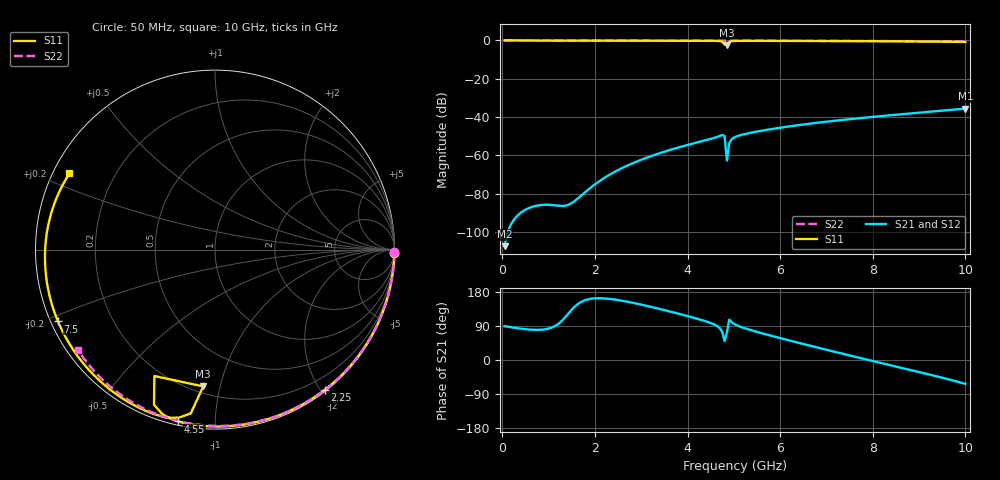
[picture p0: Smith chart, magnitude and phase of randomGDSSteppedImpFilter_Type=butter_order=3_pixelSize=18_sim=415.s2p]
! freq	dB(S11)	phase(S11)	dB(S12)	phase(S12)
!  dB(S21)	phase(S21)	dB(S22)	phase(S22)
!S-par simulation data
#  GHz  S  DB  R 50
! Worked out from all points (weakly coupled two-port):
!   200 points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, 50 MHz to 10 GHz, reference 50 ohm
!   highest |S21| = -35.58 dB at 10 GHz (marker M1); lowest = -107.4 dB at 50 MHz (marker M2)
!   lowest |S11| = -2.3 dB at 4.85 GHz (marker M3), VSWR 7.51, Z = 12.1 - j44.4 ohm
!   |S11| at or under -10 dB: nowhere
!   |S22| runs from -0.5 to 0.0 dB; largest |S21 - S12| = 0
!   S11 on the Smith chart (normalised r, x): 50 MHz: 0, -96; 2.25 GHz: 0.02, -2.05; 4.55 GHz: 0.02, -0.81; 7.5 GHz: 0.02, -0.22; 10 GHz: 0.05, +0.25
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0.05  -0.00 -1.2  -107.36 89.2  -107.36 89.2  -0.00 -0.8
0.85  -0.03 -20.0  -85.84 80.0  -85.84 80.0  -0.02 -14.1
1.75  -0.05 -40.8  -80.00 156.1  -80.00 156.1  -0.04 -28.8
2  -0.06 -46.4  -75.11 162.8  -75.11 162.8  -0.04 -32.8
2.25  -0.07 -52.0  -71.03 162.1  -71.03 162.1  -0.05 -36.8
2.75  -0.08 -62.9  -64.77 152.7  -64.77 152.7  -0.06 -44.7
3.4  -0.10 -76.8  -58.82 134.7  -58.82 134.7  -0.07 -54.7
4  -0.12 -89.5  -54.54 115.9  -54.54 115.9  -0.09 -63.7
4.55  -0.18 -102.1  -51.02 95.1  -51.02 95.1  -0.10 -71.8
4.7  -0.34 -107.8  -49.81 83.5  -49.81 83.5  -0.11 -74.0
4.75  -0.64 -111.5  -49.33 74.2  -49.33 74.2  -0.11 -74.7
4.8  -2.14 -115.6  -49.88 49.7  -49.88 49.7  -0.11 -75.4
4.85  -2.33 -94.9  -62.67 72.3  -62.67 72.3  -0.11 -76.1
4.9  -0.70 -98.4  -53.74 106.4  -53.74 106.4  -0.12 -76.9
4.95  -0.38 -102.1  -51.65 100.1  -51.65 100.1  -0.12 -77.6
5.05  -0.24 -106.2  -50.17 92.4  -50.17 92.4  -0.12 -79.0
5.7  -0.21 -120.9  -46.70 67.4  -46.70 67.4  -0.15 -88.1
6.7  -0.27 -140.2  -43.25 36.0  -43.25 36.0  -0.20 -101.6
7.5  -0.34 -155.4  -41.09 12.0  -41.09 12.0  -0.25 -112.1
8.35  -0.43 -172.0  -39.11 -12.8  -39.11 -12.8  -0.32 -123.0
9.2  -0.56 170.4  -37.27 -37.6  -37.27 -37.6  -0.40 -133.8
10  -0.77 152.4  -35.58 -63.0  -35.58 -63.0  -0.48 -143.9
